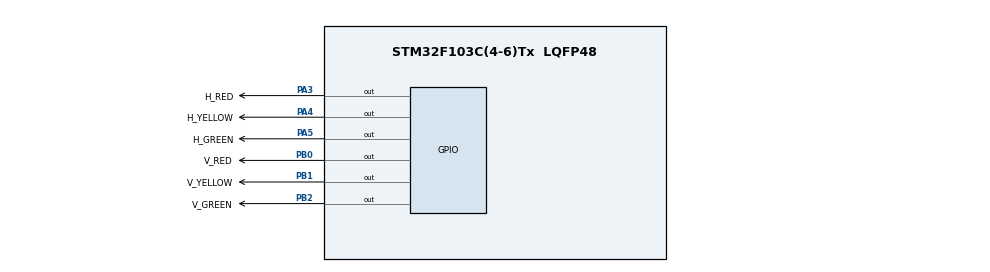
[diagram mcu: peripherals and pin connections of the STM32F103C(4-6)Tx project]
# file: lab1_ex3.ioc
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Mcu.Family=STM32F1
Mcu.Name=STM32F103C(4-6)Tx
Mcu.Package=LQFP48
NVIC.PriorityGroup=NVIC_PRIORITYGROUP_4
PA3.GPIO_Label=H_RED
PA3.Signal=GPIO_Output
PA4.GPIO_Label=H_YELLOW
PA4.Signal=GPIO_Output
PA5.GPIO_Label=H_GREEN
PA5.Signal=GPIO_Output
PB0.GPIO_Label=V_RED
PB0.Signal=GPIO_Output
PB1.GPIO_Label=V_YELLOW
PB1.Signal=GPIO_Output
PB2.GPIO_Label=V_GREEN
PB2.Signal=GPIO_Output
ProjectManager.HeapSize=0x200
ProjectManager.StackSize=0x400
ProjectManager.TargetToolchain=STM32CubeIDE
RCC.APB1Freq_Value=8000000
RCC.APB2Freq_Value=8000000
VP_SYS_VS_ND.Mode=No_Debug
board=custom

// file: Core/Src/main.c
/* USER CODE BEGIN Header */
/**
  ******************************************************************************
  * @file           : main.c
  * @brief          : Main program body
  ******************************************************************************
  * @attention
  *
  * <h2><center>&copy; Copyright (c) 2023 STMicroelectronics.
  * All rights reserved.</center></h2>
  *
  * This software component is licensed by ST under BSD 3-Clause license,
  * the "License"; You may not use this file except in compliance with the
  * License. You may obtain a copy of the License at:
  *                        opensource.org/licenses/BSD-3-Clause
  *
  ******************************************************************************
  */
/* USER CODE END Header */
#include "main.h"

void SystemClock_Config(void);
static void MX_GPIO_Init(void);

/* USER CODE BEGIN 0 */
/*Private function-----------------------------------------------------------*/
/*toggle port*/
void toggle_port(GPIO_TypeDef *port, uint16_t pin)
{
	HAL_GPIO_TogglePin(port, pin);
}

/*Public function------------------------------------------------------------*/
/*run traffic light counter*/
void run_traffic_light(TRAFFIC_LIGHT *light, STATE *light_state)
{
	  switch (*light_state)
	  {
	  case red:
		  if (light->red_time == 0)
		  {
			  toggle_port(light->LED_RED_Port, light->LED_RED_Pin);
			  *light_state = green;
			  light->green_time = GREEN;
			  toggle_port(light->LED_GREEN_Port, light->LED_GREEN_Pin);
		  }
		  else
		  {
			  light->red_time--;
			  break;
		  }

	  case green:
		  if (light->green_time == 0)
		  {
			  toggle_port(light->LED_GREEN_Port, light->LED_GREEN_Pin);
			  *light_state = yellow;
			  light->yellow_time = YELLOW;
			  toggle_port(light->LED_YELLOW_Port, light->LED_YELLOW_Pin);
		  }
		  else
		  {
			  light->green_time--;
			  break;
		  }
	  case yellow:
		  if (light->yellow_time == 0)
		  {
			  toggle_port(light->LED_YELLOW_Port, light->LED_YELLOW_Pin);
			  *light_state = red;
			  light->red_time = RED;
			  toggle_port(light->LED_RED_Port, light->LED_RED_Pin);
		  }
		  else
		  {
			  light->yellow_time--;
			  break;
		  }
	  default:
		  light->red_time--;
	  }
}
/* USER CODE END 0 */

int main(void)
{

  /* MCU Configuration--------------------------------------------------------*/

  /* Reset of all peripherals, Initializes the Flash interface and the Systick. */
  HAL_Init();

  /* Configure the system clock */
  SystemClock_Config();

  /* Initialize all configured peripherals */
  MX_GPIO_Init();

  /* Infinite loop */
  /* USER CODE BEGIN WHILE */
  TRAFFIC_LIGHT v_light, h_light;
  STATE v_light_state = red, h_light_state = green;

  HAL_GPIO_WritePin(V_RED_GPIO_Port, V_RED_Pin, RESET);
  HAL_GPIO_WritePin(V_YELLOW_GPIO_Port, V_YELLOW_Pin, SET);
  HAL_GPIO_WritePin(V_GREEN_GPIO_Port, V_GREEN_Pin, SET);

  HAL_GPIO_WritePin(H_RED_GPIO_Port, H_RED_Pin, SET);
  HAL_GPIO_WritePin(H_YELLOW_GPIO_Port, H_YELLOW_Pin, SET);
  HAL_GPIO_WritePin(H_GREEN_GPIO_Port, H_GREEN_Pin, RESET);

  v_light.LED_RED_Port = V_RED_GPIO_Port;
  v_light.LED_YELLOW_Port = V_YELLOW_GPIO_Port;
  v_light.LED_GREEN_Port = V_GREEN_GPIO_Port;
  v_light.LED_RED_Pin = V_RED_Pin;
  v_light.LED_YELLOW_Pin = V_YELLOW_Pin;
  v_light.LED_GREEN_Pin = V_GREEN_Pin;
  v_light.red_time = RED;
  v_light.yellow_time = 0;
  v_light.green_time = 0;

  h_light.LED_RED_Port = H_RED_GPIO_Port;
  h_light.LED_YELLOW_Port = H_YELLOW_GPIO_Port;
  h_light.LED_GREEN_Port = H_GREEN_GPIO_Port;
  h_light.LED_RED_Pin = H_RED_Pin;
  h_light.LED_YELLOW_Pin = H_YELLOW_Pin;
  h_light.LED_GREEN_Pin = H_GREEN_Pin;
  h_light.red_time = 0;
  h_light.yellow_time = 0;
  h_light.green_time = GREEN;
  while (1)
  {
	  run_traffic_light(&v_light, &v_light_state);
	  run_traffic_light(&h_light, &h_light_state);

//	  toggle_port(h_light.LED_GREEN_Port, h_light.LED_GREEN_Pin);
//	  toggle_port(h_light.LED_RED_Port, h_light.LED_RED_Pin);
//	  toggle_port(h_light.LED_YELLOW_Port, h_light.LED_YELLOW_Pin);

//	  HAL_GPIO_TogglePin(H_GREEN_GPIO_Port, H_GREEN_Pin);
//	  HAL_GPIO_TogglePin(H_RED_GPIO_Port, H_RED_Pin);
//	  HAL_GPIO_TogglePin(H_YELLOW_GPIO_Port, H_YELLOW_Pin);

    /* USER CODE END WHILE */
	  HAL_Delay(1000);
  }
}

void SystemClock_Config(void)
{
  RCC_OscInitTypeDef RCC_OscInitStruct = {0};
  RCC_ClkInitTypeDef RCC_ClkInitStruct = {0};

  /** Initializes the RCC Oscillators according to the specified parameters
  * in the RCC_OscInitTypeDef structure.
  */
  RCC_OscInitStruct.OscillatorType = RCC_OSCILLATORTYPE_HSI;
  RCC_OscInitStruct.HSIState = RCC_HSI_ON;
  RCC_OscInitStruct.HSICalibrationValue = RCC_HSICALIBRATION_DEFAULT;
  RCC_OscInitStruct.PLL.PLLState = RCC_PLL_NONE;
  if (HAL_RCC_OscConfig(&RCC_OscInitStruct) != HAL_OK)
  {
    Error_Handler();
  }
  /** Initializes the CPU, AHB and APB buses clocks
  */
  RCC_ClkInitStruct.ClockType = RCC_CLOCKTYPE_HCLK|RCC_CLOCKTYPE_SYSCLK
                              |RCC_CLOCKTYPE_PCLK1|RCC_CLOCKTYPE_PCLK2;
  RCC_ClkInitStruct.SYSCLKSource = RCC_SYSCLKSOURCE_HSI;
  RCC_ClkInitStruct.AHBCLKDivider = RCC_SYSCLK_DIV1;
  RCC_ClkInitStruct.APB1CLKDivider = RCC_HCLK_DIV1;
  RCC_ClkInitStruct.APB2CLKDivider = RCC_HCLK_DIV1;

  if (HAL_RCC_ClockConfig(&RCC_ClkInitStruct, FLASH_LATENCY_0) != HAL_OK)
  {
    Error_Handler();
  }
}

static void MX_GPIO_Init(void)
{
  GPIO_InitTypeDef GPIO_InitStruct = {0};

  /* GPIO Ports Clock Enable */
  __HAL_RCC_GPIOA_CLK_ENABLE();
  __HAL_RCC_GPIOB_CLK_ENABLE();

  /*Configure GPIO pin Output Level */
  HAL_GPIO_WritePin(GPIOA, H_RED_Pin|H_YELLOW_Pin|H_GREEN_Pin, GPIO_PIN_RESET);

  /*Configure GPIO pin Output Level */
  HAL_GPIO_WritePin(GPIOB, V_RED_Pin|V_YELLOW_Pin|V_GREEN_Pin, GPIO_PIN_RESET);

  /*Configure GPIO pins : H_RED_Pin H_YELLOW_Pin H_GREEN_Pin */
  GPIO_InitStruct.Pin = H_RED_Pin|H_YELLOW_Pin|H_GREEN_Pin;
  GPIO_InitStruct.Mode = GPIO_MODE_OUTPUT_PP;
  GPIO_InitStruct.Pull = GPIO_NOPULL;
  GPIO_InitStruct.Speed = GPIO_SPEED_FREQ_LOW;
  HAL_GPIO_Init(GPIOA, &GPIO_InitStruct);

  /*Configure GPIO pins : V_RED_Pin V_YELLOW_Pin V_GREEN_Pin */
  GPIO_InitStruct.Pin = V_RED_Pin|V_YELLOW_Pin|V_GREEN_Pin;
  GPIO_InitStruct.Mode = GPIO_MODE_OUTPUT_PP;
  GPIO_InitStruct.Pull = GPIO_NOPULL;
  GPIO_InitStruct.Speed = GPIO_SPEED_FREQ_LOW;
  HAL_GPIO_Init(GPIOB, &GPIO_InitStruct);

}

void Error_Handler(void)
{
  __disable_irq();
  while (1)
  {
  }
}

/************************ (C) COPYRIGHT STMicroelectronics *****END OF FILE****/
